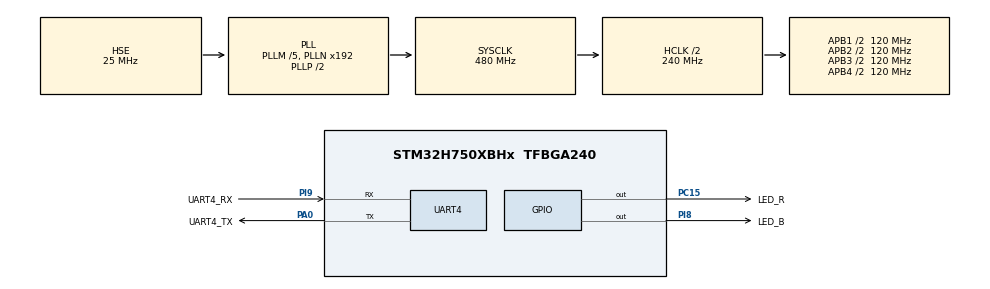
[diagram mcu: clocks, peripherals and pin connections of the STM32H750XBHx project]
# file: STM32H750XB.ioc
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CORTEX_M7.CPU_DCache=Enabled
CORTEX_M7.CPU_ICache=Enabled
CORTEX_M7.default_mode_Activation=0
Mcu.Family=STM32H7
Mcu.Name=STM32H750XBHx
Mcu.Package=TFBGA240
NVIC.PriorityGroup=NVIC_PRIORITYGROUP_4
NVIC.TIM7_IRQn=true\:15\:0\:false\:false\:true\:false\:true\:true
NVIC.TimeBase=TIM7_IRQn
NVIC.TimeBaseIP=TIM7
PA0.GPIO_Label=UART4_TX
PA0.Mode=Asynchronous
PA0.Signal=UART4_TX
PC15-OSC32_OUT\ (OSC32_OUT).GPIO_Label=LED_R
PC15-OSC32_OUT\ (OSC32_OUT).GPIO_PuPd=GPIO_PULLUP
PC15-OSC32_OUT\ (OSC32_OUT).PinState=GPIO_PIN_SET
PC15-OSC32_OUT\ (OSC32_OUT).Signal=GPIO_Output
PF7.GPIO_Speed=GPIO_SPEED_FREQ_VERY_HIGH
PF7.Signal=QUADSPI_BK1_IO2
PG6.GPIO_Label=QSPI_CS_W25Q64
PG6.GPIO_PuPd=GPIO_PULLUP
PG6.GPIO_Speed=GPIO_SPEED_FREQ_VERY_HIGH
PG6.Signal=QUADSPI_BK1_NCS
PH0-OSC_IN\ (PH0).Mode=HSE-External-Oscillator
PH0-OSC_IN\ (PH0).Signal=RCC_OSC_IN
PH1-OSC_OUT\ (PH1).Mode=HSE-External-Oscillator
PH1-OSC_OUT\ (PH1).Signal=RCC_OSC_OUT
PH5.GPIO_PuPd=GPIO_PULLDOWN
PH5.Signal=FMC_SDNWE
PI8.GPIO_Label=LED_B
PI8.Signal=GPIO_Output
PI9.GPIO_Label=UART4_RX
PI9.Mode=Asynchronous
PI9.Signal=UART4_RX
ProjectManager.HeapSize=0x800
ProjectManager.StackSize=0x800
ProjectManager.TargetToolchain=MDK-ARM V5.27
RCC.ADCFreq_Value=50000000
RCC.APB1Freq_Value=120000000
RCC.APB2Freq_Value=120000000
RCC.APB3Freq_Value=120000000
RCC.APB4Freq_Value=120000000
RCC.CortexFreq_Value=480000000
RCC.D1PPRE=RCC_APB3_DIV2
RCC.D2PPRE1=RCC_APB1_DIV2
RCC.D2PPRE2=RCC_APB2_DIV2
RCC.D3PPRE=RCC_APB4_DIV2
RCC.DIVM1=5
RCC.DIVM2=2
RCC.DIVM3=5
RCC.DIVN1=192
RCC.DIVN2=16
RCC.DIVN3=50
RCC.DIVP2=4
RCC.DIVP3=1
RCC.DIVQ2=1
RCC.DIVQ3=5
RCC.DIVR3=10
RCC.HCLKFreq_Value=240000000
RCC.HPRE=RCC_HCLK_DIV2
RCC.PLL2FRACN=0
RCC.PLLFRACN=0
RCC.PLLSourceVirtual=RCC_PLLSOURCE_HSE
RCC.ProductRev=revV
RCC.SDMMC1CLockSelection=RCC_SDMMCCLKSOURCE_PLL2
RCC.SPI123CLockSelection=RCC_SPI123CLKSOURCE_PLL2
RCC.SYSCLKFreq_VALUE=480000000
RCC.SYSCLKSource=RCC_SYSCLKSOURCE_PLLCLK
RCC.USBCLockSelection=RCC_USBCLKSOURCE_PLL3
RCC.USBFreq_Value=50000000
SH.FMC_SDNWE.0=FMC_SDNWE
VP_SYS_VS_tim7.Mode=TIM7
board=custom

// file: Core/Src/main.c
/* USER CODE BEGIN Header */
/**
  ******************************************************************************
  * @file           : main.c
  * @brief          : Main program body
  ******************************************************************************
  * @attention
  *
  * Copyright (c) 2023 STMicroelectronics.
  * All rights reserved.
  *
  * This software is licensed under terms that can be found in the LICENSE file
  * in the root directory of this software component.
  * If no LICENSE file comes with this software, it is provided AS-IS.
  *
  ******************************************************************************
  */
/* USER CODE END Header */
#include "main.h"
#include "usart.h"
#include "gpio.h"

/* USER CODE BEGIN Includes */
#include "bsp_led.h"
#include "stdio.h"
#include <stdlib.h>
/* USER CODE END Includes */

void SystemClock_Config(void);

int main(void)
{
  /* USER CODE BEGIN 1 */
//  SCB->VTOR = 0x90000000; //app1

//	SCB->VTOR = 0x90400000; //app2

	__enable_irq();

  /* USER CODE END 1 */

  /* Enable I-Cache---------------------------------------------------------*/
  SCB_EnableICache();

  /* Enable D-Cache---------------------------------------------------------*/
  SCB_EnableDCache();

  /* MCU Configuration--------------------------------------------------------*/

  /* Reset of all peripherals, Initializes the Flash interface and the Systick. */
  HAL_Init();

  /* Configure the system clock */
  SystemClock_Config();

  /* Initialize all configured peripherals */
  MX_GPIO_Init();
  MX_UART4_Init();
  /* USER CODE BEGIN 2 */

/*  logo ������վ��http://patorjk.com/software/taag/   */

  printf("               AAA               PPPPPPPPPPPPPPPPP   PPPPPPPPPPPPPPPPP     1111111   \r\n");
  printf("              A:::A              P::::::::::::::::P  P::::::::::::::::P   1::::::1    \r\n");
  printf("             A:::::A             P::::::PPPPPP:::::P P::::::PPPPPP:::::P 1:::::::1    \r\n");
  printf("            A:::::::A            PP:::::P     P:::::PPP:::::P     P:::::P111:::::1     \r\n");
  printf("           A:::::::::A             P::::P     P:::::P  P::::P     P:::::P   1::::1    \r\n");
  printf("          A:::::A:::::A            P::::P     P:::::P  P::::P     P:::::P   1::::1    \r\n");
  printf("         A:::::A A:::::A           P::::PPPPPP:::::P   P::::PPPPPP:::::P    1::::1    \r\n");
  printf("        A:::::A   A:::::A          P:::::::::::::PP    P:::::::::::::PP     1::::l    \r\n");
  printf("       A:::::A     A:::::A         P::::PPPPPPPPP      P::::PPPPPPPPP       1::::l    \r\n");
  printf("      A:::::AAAAAAAAA:::::A        P::::P              P::::P               1::::l     \r\n");
  printf("     A:::::::::::::::::::::A       P::::P              P::::P               1::::l    \r\n");
  printf("    A:::::AAAAAAAAAAAAA:::::A      P::::P              P::::P               1::::l     \r\n");
  printf("   A:::::A             A:::::A    PP::::::PP          PP::::::PP          111::::::111 \r\n");
  printf("  A:::::A               A:::::A  P::::::::P          P::::::::P          1::::::::::1 \r\n");
  printf(" A:::::A                 A:::::A P::::::::P          P::::::::P          1::::::::::1 \r\n");
  printf("AAAAAAA                   AAAAAAAPPPPPPPPPP          PPPPPPPPPP          111111111111 \r\n\r\n\r\n");
  printf(" jump to app1 success\r\n\r\n\r\n");

//  printf("              AAA               PPPPPPPPPPPPPPPPP   PPPPPPPPPPPPPPPPP    222222222222222    \r\n");
//  printf("             A:::A              P::::::::::::::::P  P::::::::::::::::P  2:::::::::::::::22  \r\n");
//  printf("            A:::::A             P::::::PPPPPP:::::P P::::::PPPPPP:::::P 2::::::222222:::::2 \r\n");
//  printf("           A:::::::A            PP:::::P     P:::::PPP:::::P     P:::::P2222222     2:::::2 \r\n");
//  printf("          A:::::::::A             P::::P     P:::::P  P::::P     P:::::P            2:::::2 \r\n");
//  printf("          A:::::A:::::A            P::::P     P:::::P  P::::P     P:::::P            2:::::2 \r\n");
//  printf("         A:::::A A:::::A           P::::PPPPPP:::::P   P::::PPPPPP:::::P          2222::::2  \r\n");
//  printf("        A:::::A   A:::::A          P:::::::::::::PP    P:::::::::::::PP      22222::::::22   \r\n");
//  printf("       A:::::A     A:::::A         P::::PPPPPPPPP      P::::PPPPPPPPP      22::::::::222     \r\n");
//  printf("      A:::::AAAAAAAAA:::::A        P::::P              P::::P             2:::::22222        \r\n");
//  printf("     A:::::::::::::::::::::A       P::::P              P::::P            2:::::2             \r\n");
//  printf("    A:::::AAAAAAAAAAAAA:::::A      P::::P              P::::P            2:::::2             \r\n");
//  printf("   A:::::A             A:::::A   PP::::::PP          PP::::::PP          2:::::2       222222\r\n");
//  printf("  A:::::A               A:::::A  P::::::::P          P::::::::P          2::::::2222222:::::2\r\n");
//  printf(" A:::::A                 A:::::A P::::::::P          P::::::::P          2::::::::::::::::::2\r\n");
//  printf("AAAAAAA                   AAAAAAAPPPPPPPPPP          PPPPPPPPPP          22222222222222222222\r\n\r\n\r\n");
//  printf(" jump to app2 success\r\n\r\n\r\n");
//
//
//

  /* USER CODE END 2 */

  /* Infinite loop */
  while (1)
  {

		LEDB_TOGGLE();
		HAL_Delay(500);

  }
}

void SystemClock_Config(void)
{
  RCC_OscInitTypeDef RCC_OscInitStruct = {0};
  RCC_ClkInitTypeDef RCC_ClkInitStruct = {0};

  /** Supply configuration update enable
  */
  HAL_PWREx_ConfigSupply(PWR_LDO_SUPPLY);

  /** Configure the main internal regulator output voltage
  */
  __HAL_PWR_VOLTAGESCALING_CONFIG(PWR_REGULATOR_VOLTAGE_SCALE1);

  while(!__HAL_PWR_GET_FLAG(PWR_FLAG_VOSRDY)) {}

  __HAL_RCC_SYSCFG_CLK_ENABLE();
  __HAL_PWR_VOLTAGESCALING_CONFIG(PWR_REGULATOR_VOLTAGE_SCALE0);

  while(!__HAL_PWR_GET_FLAG(PWR_FLAG_VOSRDY)) {}

  /** Initializes the RCC Oscillators according to the specified parameters
  * in the RCC_OscInitTypeDef structure.
  */
  RCC_OscInitStruct.OscillatorType = RCC_OSCILLATORTYPE_HSE;
  RCC_OscInitStruct.HSEState = RCC_HSE_ON;
  RCC_OscInitStruct.PLL.PLLState = RCC_PLL_ON;
  RCC_OscInitStruct.PLL.PLLSource = RCC_PLLSOURCE_HSE;
  RCC_OscInitStruct.PLL.PLLM = 5;
  RCC_OscInitStruct.PLL.PLLN = 192;
  RCC_OscInitStruct.PLL.PLLP = 2;
  RCC_OscInitStruct.PLL.PLLQ = 2;
  RCC_OscInitStruct.PLL.PLLR = 2;
  RCC_OscInitStruct.PLL.PLLRGE = RCC_PLL1VCIRANGE_2;
  RCC_OscInitStruct.PLL.PLLVCOSEL = RCC_PLL1VCOWIDE;
  RCC_OscInitStruct.PLL.PLLFRACN = 0;
  if (HAL_RCC_OscConfig(&RCC_OscInitStruct) != HAL_OK)
  {
    Error_Handler();
  }

  /** Initializes the CPU, AHB and APB buses clocks
  */
  RCC_ClkInitStruct.ClockType = RCC_CLOCKTYPE_HCLK|RCC_CLOCKTYPE_SYSCLK
                              |RCC_CLOCKTYPE_PCLK1|RCC_CLOCKTYPE_PCLK2
                              |RCC_CLOCKTYPE_D3PCLK1|RCC_CLOCKTYPE_D1PCLK1;
  RCC_ClkInitStruct.SYSCLKSource = RCC_SYSCLKSOURCE_PLLCLK;
  RCC_ClkInitStruct.SYSCLKDivider = RCC_SYSCLK_DIV1;
  RCC_ClkInitStruct.AHBCLKDivider = RCC_HCLK_DIV2;
  RCC_ClkInitStruct.APB3CLKDivider = RCC_APB3_DIV2;
  RCC_ClkInitStruct.APB1CLKDivider = RCC_APB1_DIV2;
  RCC_ClkInitStruct.APB2CLKDivider = RCC_APB2_DIV2;
  RCC_ClkInitStruct.APB4CLKDivider = RCC_APB4_DIV2;

  if (HAL_RCC_ClockConfig(&RCC_ClkInitStruct, FLASH_LATENCY_4) != HAL_OK)
  {
    Error_Handler();
  }
}

void HAL_TIM_PeriodElapsedCallback(TIM_HandleTypeDef *htim)
{
  if (htim->Instance == TIM7) {
    HAL_IncTick();
  }
}

void Error_Handler(void)
{
  __disable_irq();
  while (1)
  {
  }
}
